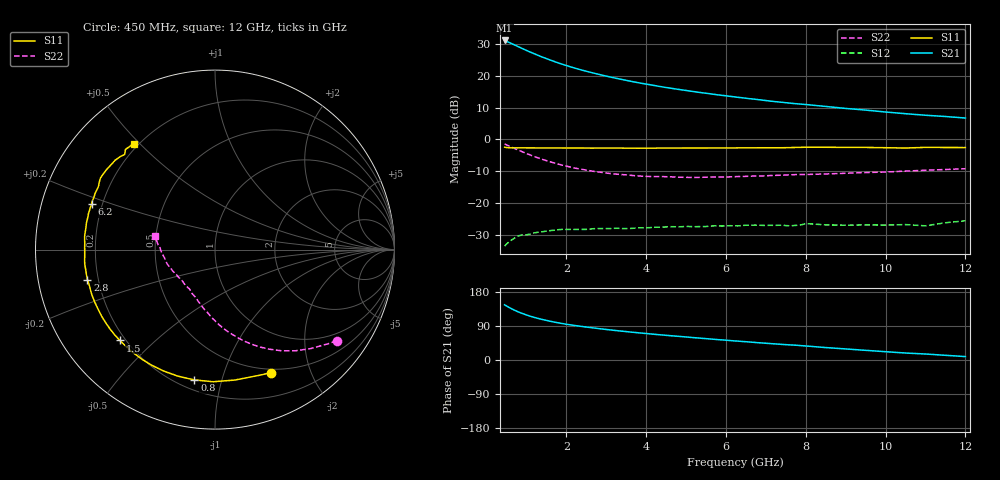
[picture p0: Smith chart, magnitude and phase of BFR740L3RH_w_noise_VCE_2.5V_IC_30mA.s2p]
! (c) 2012  Infineon Technologies AG, Munich
! Infineon Technologies  Discrete & RF Semiconductors
! BFR740L3RH
! VCE =  2.5 V,  IC =  30 mA
! Common Emitter S-Parameters:  May 2012
# GHz  S  MA  R  50
!  f  S11  S21  S12  S22
! GHz  MAG  ANG  MAG  ANG  MAG  ANG  MAG  ANG
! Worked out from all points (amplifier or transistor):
!   85 points, 450 MHz to 12 GHz, reference 50 ohm
!   highest |S21| = 31.2 dB at 450 MHz (marker M1)
!   |S21| within 3 dB of that: start of sweep to 974 MHz
!   unconditionally stable (mu >= 1): 5.813 GHz to end of sweep
!   at 1.8 GHz: K = 0.32, MSG = 26.2 dB, |S12| = -28.4 dB
!   at 4.6 GHz: K = 0.81, MSG = 21.8 dB, |S12| = -27.5 dB
!   at 12 GHz: K = 1.87, MAG = 10.8 dB, |S12| = -25.6 dB
!   lowest NFmin = 1.19 dB at 450 MHz
!   S11 on the Smith chart (normalised r, x): 450 MHz: 0.46, -1.45; 800 MHz: 0.26, -0.82; 1.5 GHz: 0.18, -0.39; 2.8 GHz: 0.16, -0.11; 6.2 GHz: 0.16, +0.18; 12 GHz: 0.18, +0.48
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0.45  0.7536 -65.5  36.13 145.6  0.0208 50.9  0.8477 -36.8
0.5  0.7421 -70.8  34.97 142.5  0.0226 52.2  0.8187 -39.9
0.6  0.7352 -81.4  32.82 136.5  0.0254 52.3  0.7668 -46.0
0.7  0.7362 -90.8  30.72 131.3  0.0279 49.7  0.7195 -51.6
0.8  0.7352 -99.0  28.7 126.6  0.0303 45.8  0.6754 -56.6
0.9  0.7347 -106.3  26.84 122.5  0.0313 41.2  0.6353 -61.0
1.1  0.7345 -118.6  23.61 115.3  0.0324 36.5  0.5655 -68.8
1.3  0.7334 -128.4  20.91 109.4  0.0345 32.8  0.5078 -75.4
1.5  0.7329 -136.3  18.68 104.4  0.036 30.0  0.4618 -81.2
1.7  0.7332 -143.0  16.8 100.0  0.0371 27.2  0.4244 -86.2
1.9  0.7326 -148.8  15.22 96.1  0.0382 26.2  0.3919 -90.7
2.1  0.7308 -153.7  13.89 92.7  0.0382 24.8  0.3661 -94.7
2.4  0.7307 -160.0  12.26 88.3  0.0382 23.4  0.3367 -100.4
2.8  0.7298 -166.8  10.6 83.0  0.0394 22.7  0.3067 -107.0
3.6  0.7265 -177.6  8.25 73.8  0.0395 21.9  0.2722 -119.0
4.3  0.7289 175.4  6.88 66.9  0.0414 21.6  0.2594 -127.0
5.2  0.7311 167.1  5.647 58.9  0.0421 21.3  0.2515 -137.8
6.2  0.7335 159.6  4.68 50.5  0.0435 22.2  0.2584 -148.3
6.3  0.7347 158.9  4.599 49.8  0.0434 22.0  0.2596 -149.3
8.5  0.7514 144.0  3.3 32.8  0.045 23.1  0.2853 -170.7
10.5  0.7307 133.5  2.536 18.4  0.0455 26.5  0.3166 175.9
12  0.743 127.3  2.168 9.0  0.0523 33.4  0.3449 167.4
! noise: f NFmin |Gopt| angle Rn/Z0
0.45  1.19  0.09  178  0.12
0.9  1.19  0.1  173  0.11
1.5  1.21  0.11  167  0.11
1.9  1.22  0.12  164  0.11
2.4  1.24  0.14  164  0.11
3.5  1.3  0.16  166  0.11
5.5  1.44  0.22  170  0.1
8  1.66  0.29  -172  0.11
10  1.85  0.31  -156  0.13
12  2.05  0.37  -136  0.19
